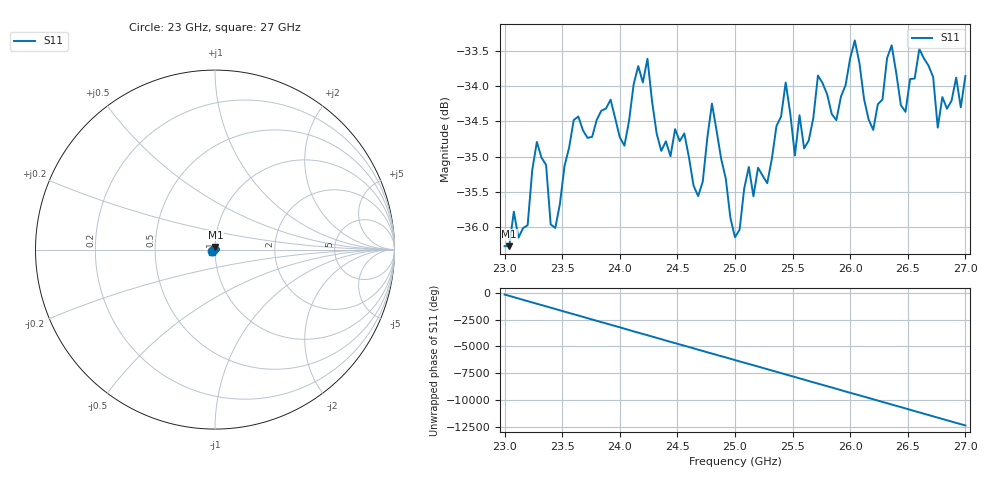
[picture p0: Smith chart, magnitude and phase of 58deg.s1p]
#  HZ  S  RI  R  50.00
! Rohde & Schwarz ZVA40 4Ports - Version 3.90 - 1145.1110k42 SN: 100403
! Date: 2023-09-26 10:48:20
! Measurement: S12
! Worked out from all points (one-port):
!   101 points, 23 GHz to 27 GHz, reference 50 ohm
!   lowest |S11| = -36.3 dB at 23.04 GHz (marker M1), VSWR 1.03, Z = 50.2 + j1.52 ohm
!   |S11| at or under -10 dB: start of sweep to end of sweep
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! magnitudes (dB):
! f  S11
! 23 GHz  -36.3
! 23.04 GHz  -36.3
! 23.2 GHz  -36.0
! 23.28 GHz  -34.8
! 23.4 GHz  -36.0
! 23.52 GHz  -35.1
! 23.92 GHz  -34.2
! 24 GHz  -34.7
! 24.24 GHz  -33.6
! 24.36 GHz  -34.9
! 24.52 GHz  -34.8
! 24.68 GHz  -35.6
! 24.8 GHz  -34.2
! 25 GHz  -36.1
! 25.12 GHz  -35.1
! 25.28 GHz  -35.4
! 25.44 GHz  -33.9
! 25.52 GHz  -35.0
! 25.72 GHz  -33.8
! 25.88 GHz  -34.5
! 26 GHz  -33.6
! 26.2 GHz  -34.6
! 26.36 GHz  -33.4
! 26.44 GHz  -34.3
! 26.52 GHz  -33.9
! 26.6 GHz  -33.5
! 26.76 GHz  -34.6
! 27 GHz  -33.9
